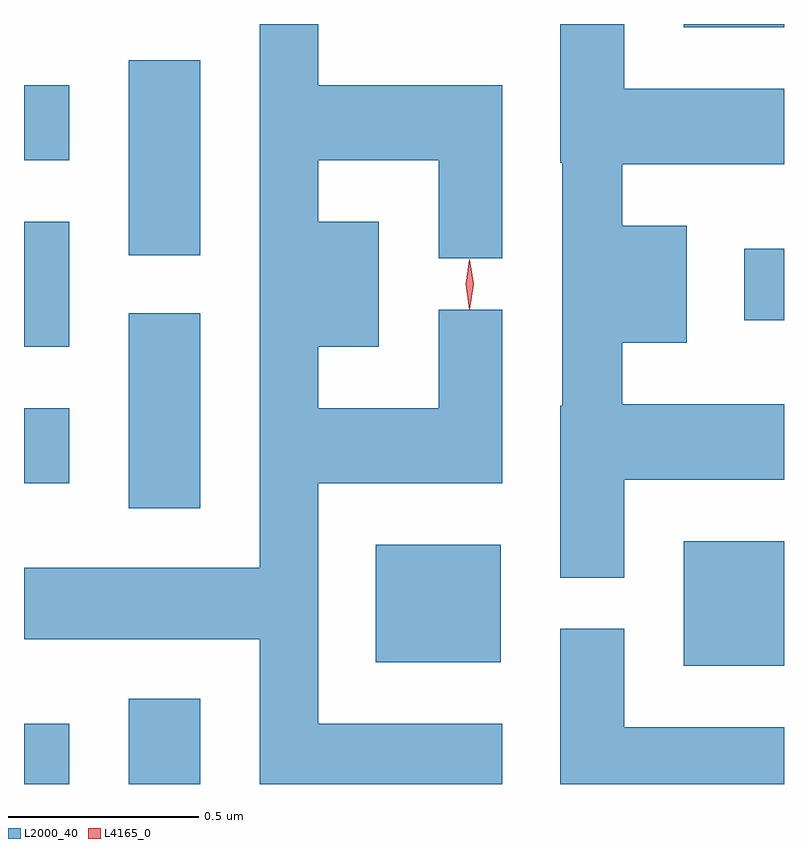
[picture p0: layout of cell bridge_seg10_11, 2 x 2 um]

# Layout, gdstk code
import gdstk
lib = gdstk.Library(unit=1e-6, precision=1e-09)
def R(c, l, rs):  # rectangles x0, y0, x1, y1
    for r in rs: c.add(gdstk.rectangle(r[:2], r[2:], *l))
def P(c, l, *ps):  # polygons
    for p in ps: c.add(gdstk.Polygon(p, *l))
L2000_40 = (2000, 40)
L4165_0 = (4165, 0)

bridge_seg10_11 = lib.new_cell('bridge_seg10_11')
R(bridge_seg10_11, L2000_40, [(1911.62,2171.215,1911.739,2171.374), (1911.896,2171.215,1912.084,2171.439), (1913.356,2171.526,1913.62,2171.854), (1912.546,2171.536,1912.874,2171.844), (1911.896,2171.941,1912.084,2172.454), (1911.62,2172.006,1911.739,2172.204), (1911.62,2172.366,1911.739,2172.694), (1913.516,2172.436,1913.62,2172.624), (1911.896,2172.606,1912.084,2173.119), (1911.62,2172.856,1911.739,2173.054), (1913.356,2173.206,1913.62,2173.215)])
P(bridge_seg10_11, L2000_40, [(1912.879,2171.374),(1912.394,2171.374),(1912.394,2172.006),(1912.879,2172.006),(1912.879,2172.463),(1912.711,2172.463),(1912.711,2172.204),(1912.394,2172.204),(1912.394,2172.366),(1912.554,2172.366),(1912.554,2172.694),(1912.394,2172.694),(1912.394,2172.856),(1912.711,2172.856),(1912.711,2172.598),(1912.879,2172.598),(1912.879,2173.054),(1912.394,2173.054),(1912.394,2173.215),(1912.241,2173.215),(1912.241,2171.784),(1911.62,2171.784),(1911.62,2171.596),(1912.241,2171.596),(1912.241,2171.215),(1912.879,2171.215)],
  [(1913.199,2172.016),(1913.62,2172.016),(1913.62,2172.214),(1913.194,2172.214),(1913.194,2172.376),(1913.364,2172.376),(1913.364,2172.684),(1913.194,2172.684),(1913.194,2172.846),(1913.62,2172.846),(1913.62,2173.044),(1913.199,2173.044),(1913.199,2173.215),(1913.031,2173.215),(1913.031,2172.85),(1913.036,2172.85),(1913.036,2172.21),(1913.031,2172.21),(1913.031,2171.758),(1913.199,2171.758)],
  [(1913.62,2171.364),(1913.199,2171.364),(1913.199,2171.623),(1913.031,2171.623),(1913.031,2171.215),(1913.62,2171.215)])
P(bridge_seg10_11, L4165_0, [(1912.793,2172.464),(1912.792,2172.465),(1912.783,2172.53),(1912.792,2172.595),(1912.793,2172.596),(1912.793,2172.595),(1912.803,2172.53),(1912.793,2172.465)])

lib.write_gds('bridge_seg10_11.gds')
